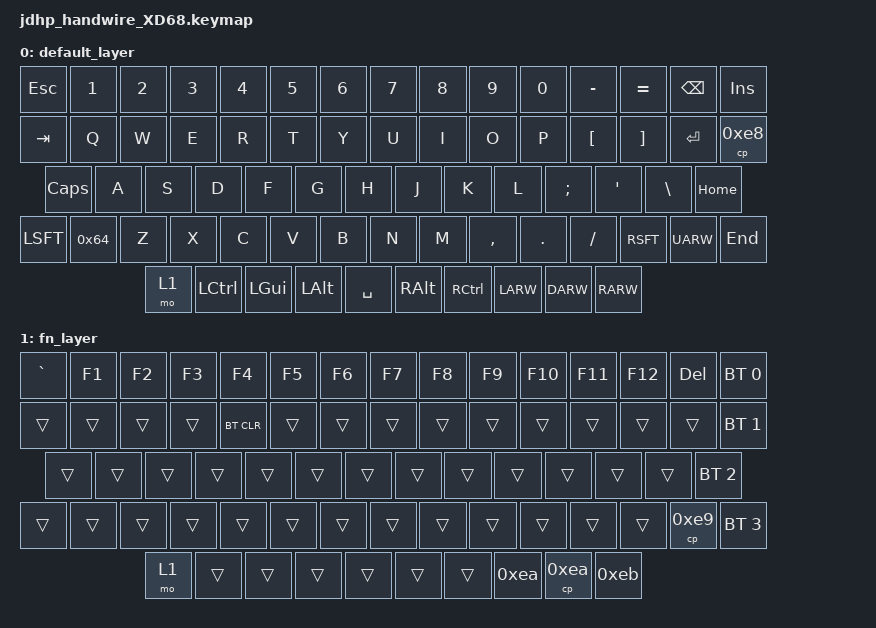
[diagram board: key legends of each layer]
#include <behaviors.dtsi>
#include <dt-bindings/zmk/keys.h>
#include <dt-bindings/zmk/bt.h>

/ {
	keymap {
		compatible = "zmk,keymap";
		default_layer {
// ------------------------------------------------------------------------------------------------
// | ESC |  1  |  2  |  3  |  4  |  5  |  6  |  7  |  8  |  9  |  0  |  -  |  =  |  BCKSPC  |  `  |
// |  TAB   |  Q  |  W  |  E  |  R  |  T  |  Y  |  U  |  I  |  O  |  P  | "[" | "]" | ENTER |HOME |
// |   CAPS  |  A  |  S  |  D  |  F  |  G  |  H  |  J  |  K  |  L  |  ;  |  '  |  #  |      | INS |
// | SHIFT|  \  |  Z  |  X  |  C  |  V  |  B  |  N  |  M  |  ,  |  .  |  /  | SHIFT   |  UP | PAU |
// |  FN | CTRL| WIN | ALT |               SPACE                |  ALT |  CTRL  | LFT | DWN | RGT |
			bindings = <
&kp ESC &kp NUM_1 &kp NUM_2 &kp NUM_3 &kp NUM_4 &kp NUM_5 &kp NUM_6 &kp NUM_7 &kp NUM_8 &kp NUM_9 &kp NUM_0 &kp MINUS &kp EQL &kp BKSP &kp INS
&kp TAB &kp Q &kp W &kp E &kp R &kp T &kp Y &kp U &kp I &kp O &kp P &kp LBKT &kp RBKT &kp RET &cp 0xe8
&kp CLCK &kp A &kp S &kp D &kp F &kp G &kp H &kp J &kp K &kp L &kp SCLN  &kp QUOT &kp BSLH &kp HOME
&kp LSFT &kp 0x64 &kp Z &kp X &kp C &kp V &kp B &kp N &kp M &kp CMMA  &kp DOT &kp FSLH  &kp RSFT &kp UARW &kp END
&mo 1 &kp LCTL &kp LGUI &kp LALT &kp SPC &kp RALT &kp RCTL &kp LARW &kp DARW &kp RARW
			>;
		};
		fn_layer {
// ------------------------------------------------------------------------------------------------
// |     | F1  | F2  | F3  | F4  | F5  | F6  | F7  | F8  | F9  | F10 | F11 | F12 |  DELETE  |     |
// |        |     |     |     |     |     |     |     |     |     |     |     |    |       |     |
// |         |     |     |     |     |     |     |     |     |     |     |     |     |      |     |
// |      |     |     |     |     |     |     |     |     |     |     |     |         | V + |     |
// |  FN |     |     |     |                                    |      |        | PRV | V - | NXT |
			bindings = <
&kp GRAV &kp F1 &kp F2 &kp F3 &kp F4 &kp F5 &kp F6 &kp F7 &kp F8 &kp F9 &kp F10 &kp F11 &kp F12 &kp DEL &bt BT_SEL 0
&trans &trans &trans &trans &bt BT_CLR &trans &trans &trans &trans &trans &trans &trans &trans &trans &bt BT_SEL 1
&trans &trans &trans &trans &trans &trans &trans &trans &trans &trans &trans  &trans &trans &bt BT_SEL 2
&trans &trans &trans &trans &trans &trans &trans &trans &trans &trans  &trans &trans  &trans &cp 0xe9 &bt BT_SEL 3
&mo 1 &trans &trans &trans &trans &trans &trans &kp 0xea &cp 0xea &kp 0xeb
			>;
		};
	};
};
